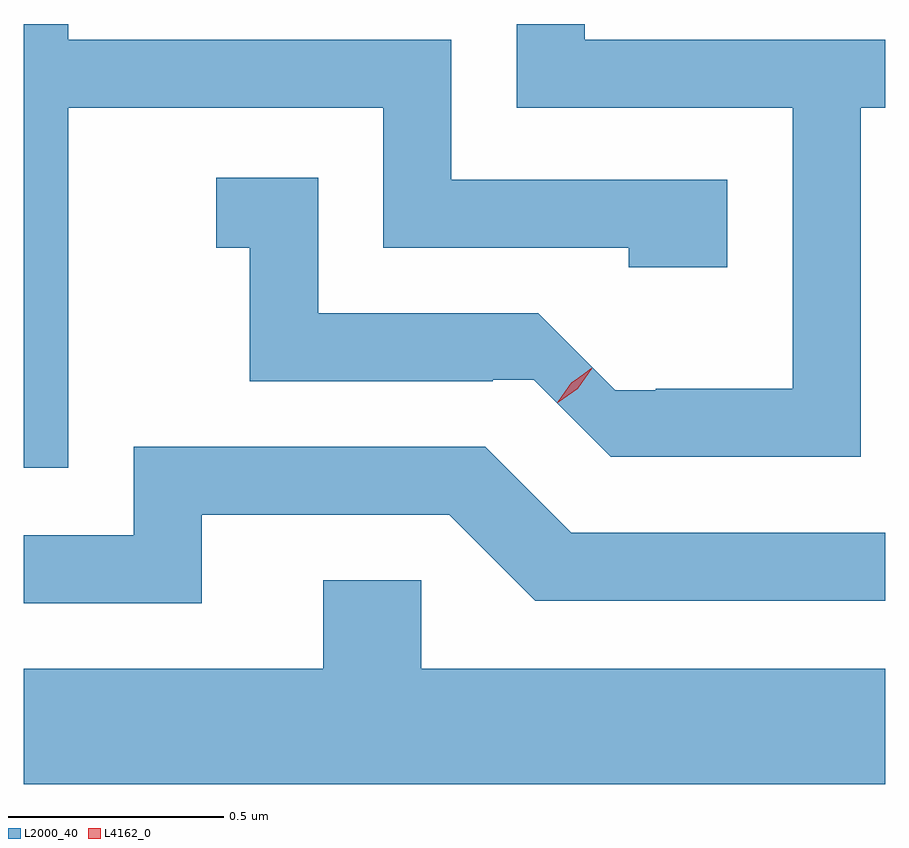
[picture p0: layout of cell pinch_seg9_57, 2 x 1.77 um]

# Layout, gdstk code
import gdstk
lib = gdstk.Library(unit=1e-6, precision=1e-09)
def P(c, l, *ps):  # polygons
    for p in ps: c.add(gdstk.Polygon(p, *l))
L2000_40 = (2000, 40)
L4162_0 = (4162, 0)

pinch_seg9_57 = lib.new_cell('pinch_seg9_57')
P(pinch_seg9_57, L2000_40, [(650.279,2024.466),(650.336,2024.466),(650.336,2024.624),(649.639,2024.624),(649.639,2024.661),(649.481,2024.661),(649.481,2024.466),(650.121,2024.466),(650.121,2023.814),(649.803,2023.814),(649.803,2023.81),(649.709,2023.81),(649.53,2023.989),(649.019,2023.989),(649.019,2024.304),(648.783,2024.304),(648.783,2024.141),(648.861,2024.141),(648.861,2023.831),(649.425,2023.831),(649.425,2023.835),(649.52,2023.835),(649.699,2023.656),(650.279,2023.656)],
  [(648.439,2024.466),(649.171,2024.466),(649.171,2024.141),(649.741,2024.141),(649.741,2024.096),(649.969,2024.096),(649.969,2024.299),(649.329,2024.299),(649.329,2024.624),(648.439,2024.624),(648.439,2024.661),(648.336,2024.661),(648.336,2023.631),(648.439,2023.631)],
  [(648.749,2023.521),(649.324,2023.521),(649.524,2023.321),(650.336,2023.321),(650.336,2023.479),(649.607,2023.479),(649.407,2023.679),(648.591,2023.679),(648.591,2023.474),(648.336,2023.474),(648.336,2023.316),(648.749,2023.316)],
  [(650.336,2023.164),(649.259,2023.164),(649.259,2023.369),(649.031,2023.369),(649.031,2023.164),(648.336,2023.164),(648.336,2022.896),(650.336,2022.896)])
P(pinch_seg9_57, L4162_0, [(649.577,2023.784),(649.577,2023.785),(649.607,2023.828),(649.651,2023.858),(649.652,2023.858),(649.652,2023.858),(649.622,2023.814),(649.578,2023.784)],
  [(649.575,2023.781),(649.575,2023.781),(649.608,2023.828),(649.654,2023.861),(649.655,2023.861),(649.655,2023.86),(649.622,2023.814),(649.576,2023.781)])

lib.write_gds('pinch_seg9_57.gds')
